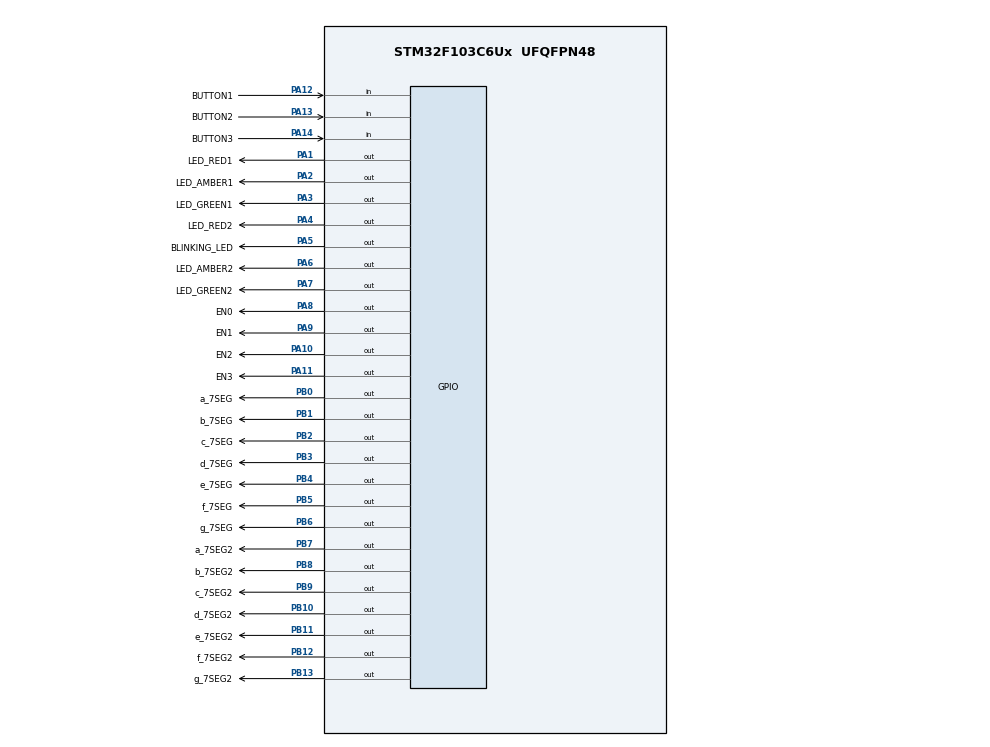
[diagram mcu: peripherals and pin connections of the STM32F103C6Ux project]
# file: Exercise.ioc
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Mcu.Family=STM32F1
Mcu.Name=STM32F103C6Ux
Mcu.Package=UFQFPN48
NVIC.PriorityGroup=NVIC_PRIORITYGROUP_4
NVIC.TIM2_IRQn=true\:0\:0\:false\:false\:true\:true\:true
PA1.GPIO_Label=LED_RED1
PA1.Signal=GPIO_Output
PA10.GPIO_Label=EN2
PA10.Signal=GPIO_Output
PA11.GPIO_Label=EN3
PA11.Signal=GPIO_Output
PA12.GPIO_Label=BUTTON1
PA12.GPIO_PuPd=GPIO_PULLUP
PA12.Signal=GPIO_Input
PA13.GPIO_Label=BUTTON2
PA13.GPIO_PuPd=GPIO_PULLUP
PA13.Signal=GPIO_Input
PA14.GPIO_Label=BUTTON3
PA14.GPIO_PuPd=GPIO_PULLUP
PA14.Signal=GPIO_Input
PA2.GPIO_Label=LED_AMBER1
PA2.Signal=GPIO_Output
PA3.GPIO_Label=LED_GREEN1
PA3.Signal=GPIO_Output
PA4.GPIO_Label=LED_RED2
PA4.Signal=GPIO_Output
PA5.GPIO_Label=BLINKING_LED
PA5.Signal=GPIO_Output
PA6.GPIO_Label=LED_AMBER2
PA6.Signal=GPIO_Output
PA7.GPIO_Label=LED_GREEN2
PA7.Signal=GPIO_Output
PA8.GPIO_Label=EN0
PA8.Signal=GPIO_Output
PA9.GPIO_Label=EN1
PA9.Signal=GPIO_Output
PB0.GPIO_Label=a_7SEG
PB0.Signal=GPIO_Output
PB1.GPIO_Label=b_7SEG
PB1.Signal=GPIO_Output
PB10.GPIO_Label=d_7SEG2
PB10.Signal=GPIO_Output
PB11.GPIO_Label=e_7SEG2
PB11.Signal=GPIO_Output
PB12.GPIO_Label=f_7SEG2
PB12.Signal=GPIO_Output
PB13.GPIO_Label=g_7SEG2
PB13.Signal=GPIO_Output
PB2.GPIO_Label=c_7SEG
PB2.Signal=GPIO_Output
PB3.GPIO_Label=d_7SEG
PB3.Signal=GPIO_Output
PB4.GPIO_Label=e_7SEG
PB4.Signal=GPIO_Output
PB5.GPIO_Label=f_7SEG
PB5.Signal=GPIO_Output
PB6.GPIO_Label=g_7SEG
PB6.Signal=GPIO_Output
PB7.GPIO_Label=a_7SEG2
PB7.Signal=GPIO_Output
PB8.GPIO_Label=b_7SEG2
PB8.Signal=GPIO_Output
PB9.GPIO_Label=c_7SEG2
PB9.Signal=GPIO_Output
ProjectManager.HeapSize=0x200
ProjectManager.StackSize=0x400
ProjectManager.TargetToolchain=STM32CubeIDE
RCC.APB1Freq_Value=8000000
RCC.APB2Freq_Value=8000000
TIM2.Period=9
TIM2.Prescaler=7999
VP_SYS_VS_ND.Mode=No_Debug
VP_TIM2_VS_ClockSourceINT.Mode=Internal
board=custom

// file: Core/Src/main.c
/* USER CODE BEGIN Header */
/**
  ******************************************************************************
  * @file           : main.c
  * @brief          : Main program body
  ******************************************************************************
  * @attention
  *
  * <h2><center>&copy; Copyright (c) 2025 STMicroelectronics.
  * All rights reserved.</center></h2>
  *
  * This software component is licensed by ST under BSD 3-Clause license,
  * the "License"; You may not use this file except in compliance with the
  * License. You may obtain a copy of the License at:
  *                        opensource.org/licenses/BSD-3-Clause
  *
  ******************************************************************************
  */
/* USER CODE END Header */
#include "main.h"

/* USER CODE BEGIN Includes */
#include "software_timer.h"
#include "button.h"
#include "normalTraffic.h"
#include "manualTraffic.h"
#include "modifyTime.h"
#include "lightTraffic.h"
/* USER CODE END Includes */

TIM_HandleTypeDef htim2;

void SystemClock_Config(void);
static void MX_GPIO_Init(void);
static void MX_TIM2_Init(void);

int main(void)
{

  /* MCU Configuration--------------------------------------------------------*/

  /* Reset of all peripherals, Initializes the Flash interface and the Systick. */
  HAL_Init();

  /* Configure the system clock */
  SystemClock_Config();

  /* Initialize all configured peripherals */
  MX_GPIO_Init();
  MX_TIM2_Init();
  /* USER CODE BEGIN 2 */
  HAL_TIM_Base_Start_IT(&htim2);
  /* USER CODE END 2 */

  /* Infinite loop */
  /* USER CODE BEGIN WHILE */
  setTimer(4, 13);
  while (1)
  {
	  normalTraffic_run();
	  manualTrafic_run();
	  modifyTime_run();

	  if(isTimerExpired(4)){
		  setTimer(4, 500);
		  LEDTraffic_Toggle(BLINKING_LED);
	  }
    /* USER CODE END WHILE */

  }
}

void SystemClock_Config(void)
{
  RCC_OscInitTypeDef RCC_OscInitStruct = {0};
  RCC_ClkInitTypeDef RCC_ClkInitStruct = {0};

  /** Initializes the RCC Oscillators according to the specified parameters
  * in the RCC_OscInitTypeDef structure.
  */
  RCC_OscInitStruct.OscillatorType = RCC_OSCILLATORTYPE_HSI;
  RCC_OscInitStruct.HSIState = RCC_HSI_ON;
  RCC_OscInitStruct.HSICalibrationValue = RCC_HSICALIBRATION_DEFAULT;
  RCC_OscInitStruct.PLL.PLLState = RCC_PLL_NONE;
  if (HAL_RCC_OscConfig(&RCC_OscInitStruct) != HAL_OK)
  {
    Error_Handler();
  }
  /** Initializes the CPU, AHB and APB buses clocks
  */
  RCC_ClkInitStruct.ClockType = RCC_CLOCKTYPE_HCLK|RCC_CLOCKTYPE_SYSCLK
                              |RCC_CLOCKTYPE_PCLK1|RCC_CLOCKTYPE_PCLK2;
  RCC_ClkInitStruct.SYSCLKSource = RCC_SYSCLKSOURCE_HSI;
  RCC_ClkInitStruct.AHBCLKDivider = RCC_SYSCLK_DIV1;
  RCC_ClkInitStruct.APB1CLKDivider = RCC_HCLK_DIV1;
  RCC_ClkInitStruct.APB2CLKDivider = RCC_HCLK_DIV1;

  if (HAL_RCC_ClockConfig(&RCC_ClkInitStruct, FLASH_LATENCY_0) != HAL_OK)
  {
    Error_Handler();
  }
}

static void MX_TIM2_Init(void)
{

  TIM_ClockConfigTypeDef sClockSourceConfig = {0};
  TIM_MasterConfigTypeDef sMasterConfig = {0};

  htim2.Instance = TIM2;
  htim2.Init.Prescaler = 7999;
  htim2.Init.CounterMode = TIM_COUNTERMODE_UP;
  htim2.Init.Period = 9;
  htim2.Init.ClockDivision = TIM_CLOCKDIVISION_DIV1;
  htim2.Init.AutoReloadPreload = TIM_AUTORELOAD_PRELOAD_DISABLE;
  if (HAL_TIM_Base_Init(&htim2) != HAL_OK)
  {
    Error_Handler();
  }
  sClockSourceConfig.ClockSource = TIM_CLOCKSOURCE_INTERNAL;
  if (HAL_TIM_ConfigClockSource(&htim2, &sClockSourceConfig) != HAL_OK)
  {
    Error_Handler();
  }
  sMasterConfig.MasterOutputTrigger = TIM_TRGO_RESET;
  sMasterConfig.MasterSlaveMode = TIM_MASTERSLAVEMODE_DISABLE;
  if (HAL_TIMEx_MasterConfigSynchronization(&htim2, &sMasterConfig) != HAL_OK)
  {
    Error_Handler();
  }

}

static void MX_GPIO_Init(void)
{
  GPIO_InitTypeDef GPIO_InitStruct = {0};

  /* GPIO Ports Clock Enable */
  __HAL_RCC_GPIOA_CLK_ENABLE();
  __HAL_RCC_GPIOB_CLK_ENABLE();

  /*Configure GPIO pin Output Level */
  HAL_GPIO_WritePin(GPIOA, LED_RED1_Pin|LED_AMBER1_Pin|LED_GREEN1_Pin|LED_RED2_Pin
                          |BLINKING_LED_Pin|LED_AMBER2_Pin|LED_GREEN2_Pin|EN0_Pin
                          |EN1_Pin|EN2_Pin|EN3_Pin, GPIO_PIN_RESET);

  /*Configure GPIO pin Output Level */
  HAL_GPIO_WritePin(GPIOB, a_7SEG_Pin|b_7SEG_Pin|c_7SEG_Pin|d_7SEG2_Pin
                          |e_7SEG2_Pin|f_7SEG2_Pin|g_7SEG2_Pin|d_7SEG_Pin
                          |e_7SEG_Pin|f_7SEG_Pin|g_7SEG_Pin|a_7SEG2_Pin
                          |b_7SEG2_Pin|c_7SEG2_Pin, GPIO_PIN_RESET);

  /*Configure GPIO pins : LED_RED1_Pin LED_AMBER1_Pin LED_GREEN1_Pin LED_RED2_Pin
                           BLINKING_LED_Pin LED_AMBER2_Pin LED_GREEN2_Pin EN0_Pin
                           EN1_Pin EN2_Pin EN3_Pin */
  GPIO_InitStruct.Pin = LED_RED1_Pin|LED_AMBER1_Pin|LED_GREEN1_Pin|LED_RED2_Pin
                          |BLINKING_LED_Pin|LED_AMBER2_Pin|LED_GREEN2_Pin|EN0_Pin
                          |EN1_Pin|EN2_Pin|EN3_Pin;
  GPIO_InitStruct.Mode = GPIO_MODE_OUTPUT_PP;
  GPIO_InitStruct.Pull = GPIO_NOPULL;
  GPIO_InitStruct.Speed = GPIO_SPEED_FREQ_LOW;
  HAL_GPIO_Init(GPIOA, &GPIO_InitStruct);

  /*Configure GPIO pins : a_7SEG_Pin b_7SEG_Pin c_7SEG_Pin d_7SEG2_Pin
                           e_7SEG2_Pin f_7SEG2_Pin g_7SEG2_Pin d_7SEG_Pin
                           e_7SEG_Pin f_7SEG_Pin g_7SEG_Pin a_7SEG2_Pin
                           b_7SEG2_Pin c_7SEG2_Pin */
  GPIO_InitStruct.Pin = a_7SEG_Pin|b_7SEG_Pin|c_7SEG_Pin|d_7SEG2_Pin
                          |e_7SEG2_Pin|f_7SEG2_Pin|g_7SEG2_Pin|d_7SEG_Pin
                          |e_7SEG_Pin|f_7SEG_Pin|g_7SEG_Pin|a_7SEG2_Pin
                          |b_7SEG2_Pin|c_7SEG2_Pin;
  GPIO_InitStruct.Mode = GPIO_MODE_OUTPUT_PP;
  GPIO_InitStruct.Pull = GPIO_NOPULL;
  GPIO_InitStruct.Speed = GPIO_SPEED_FREQ_LOW;
  HAL_GPIO_Init(GPIOB, &GPIO_InitStruct);

  /*Configure GPIO pins : BUTTON1_Pin BUTTON2_Pin BUTTON3_Pin */
  GPIO_InitStruct.Pin = BUTTON1_Pin|BUTTON2_Pin|BUTTON3_Pin;
  GPIO_InitStruct.Mode = GPIO_MODE_INPUT;
  GPIO_InitStruct.Pull = GPIO_PULLUP;
  HAL_GPIO_Init(GPIOA, &GPIO_InitStruct);

}

/* USER CODE BEGIN 4 */
void HAL_TIM_PeriodElapsedCallback(TIM_HandleTypeDef *htim){
	timerRun();
	getKeyInput();
}

/* USER CODE END 4 */

void Error_Handler(void)
{
  __disable_irq();
  while (1)
  {
  }
}

/************************ (C) COPYRIGHT STMicroelectronics *****END OF FILE****/
